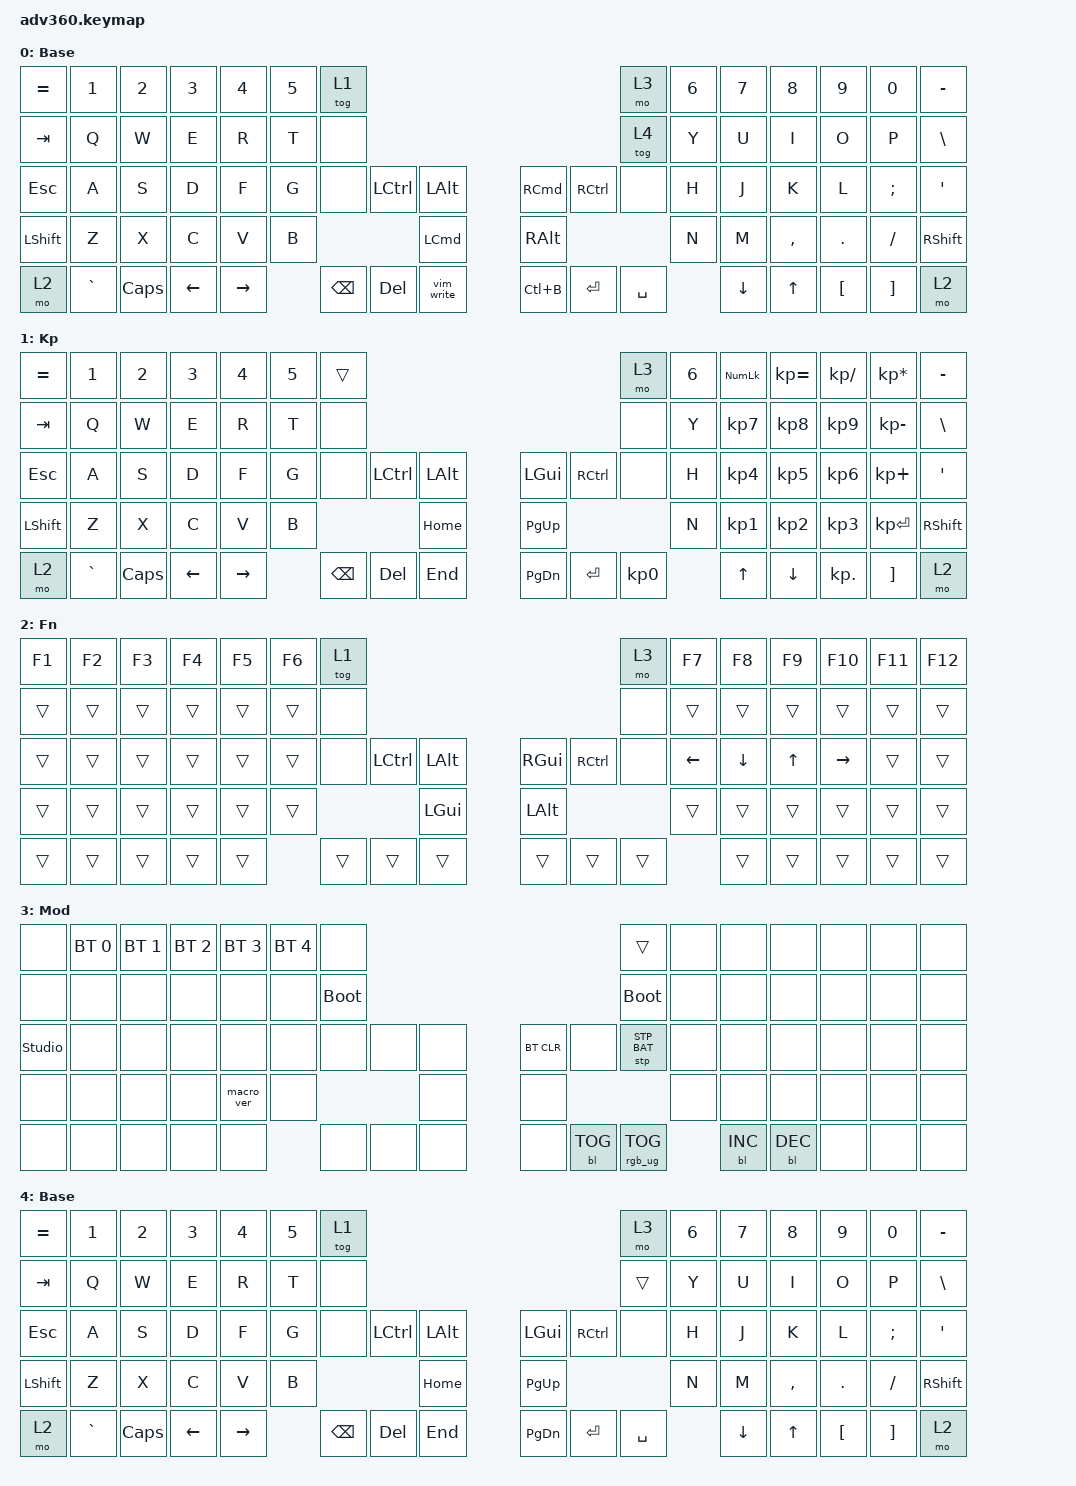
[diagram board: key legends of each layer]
#include <dt-bindings/zmk/stp.h>
#include <behaviors.dtsi>
#include <dt-bindings/zmk/backlight.h>
#include <dt-bindings/zmk/bt.h>
#include <dt-bindings/zmk/keys.h>
#include <dt-bindings/zmk/rgb.h>

/ {
    behaviors {
        #include "macros.dtsi"
      #include "version.dtsi"

        hm: homerow_mods {
            compatible = "zmk,behavior-hold-tap";
            label = "HOMEROW_MODS";
            #binding-cells = <2>;
            tapping-term-ms = <200>;
            quick_tap_ms = <175>;
            flavor = "tap-preferred";
            bindings = <&kp>, <&kp>;
        };
    };

    macros {
        vim_write: vim_write {
            compatible = "zmk,behavior-macro";
            #binding-cells = <0>;
            bindings = <&kp COLON &kp W>;
            label = "VIM_WRITE";
        };
    };

    keymap {
        compatible = "zmk,keymap";

        default_layer {
            display-name = "Base";
            bindings = <
&kp EQUAL  &kp N1     &kp N2    &kp N3    &kp N4     &kp N5  &tog 1                                                                   &mo 3      &kp N6  &kp N7    &kp N8     &kp N9    &kp N0    &kp MINUS
&kp TAB    &kp Q      &kp W     &kp E     &kp R      &kp T   &none                                                                    &tog 4     &kp Y   &kp U     &kp I      &kp O     &kp P     &kp BSLH
&kp ESC    &kp A      &kp S     &kp D     &kp F      &kp G   &none     &kp LCTRL  &kp LEFT_ALT          &kp RIGHT_COMMAND  &kp RCTRL  &none      &kp H   &kp J     &kp K      &kp L     &kp SEMI  &kp SQT
&kp LSHFT  &kp Z      &kp X     &kp C     &kp V      &kp B                        &kp LEFT_COMMAND      &kp RIGHT_ALT                            &kp N   &kp M     &kp COMMA  &kp DOT   &kp FSLH  &kp RSHFT
&mo 2      &kp GRAVE  &kp CAPS  &kp LEFT  &kp RIGHT          &kp BSPC  &kp DEL    &vim_write            &kp LC(B)          &kp ENTER  &kp SPACE          &kp DOWN  &kp UP     &kp LBKT  &kp RBKT  &mo 2
            >;
        };

        keypad {
            display-name = "Kp";
            bindings = <
&kp EQUAL  &kp N1     &kp N2    &kp N3    &kp N4     &kp N5  &trans                                                   &mo 3      &kp N6  &kp KP_NUM  &kp KP_EQUAL  &kp KP_DIVIDE  &kp KP_MULTIPLY  &kp MINUS
&kp TAB    &kp Q      &kp W     &kp E     &kp R      &kp T   &none                                                    &none      &kp Y   &kp KP_N7   &kp KP_N8     &kp KP_N9      &kp KP_MINUS     &kp BSLH
&kp ESC    &kp A      &kp S     &kp D     &kp F      &kp G   &none     &kp LCTRL  &kp LALT      &kp LGUI   &kp RCTRL  &none      &kp H   &kp KP_N4   &kp KP_N5     &kp KP_N6      &kp KP_PLUS      &kp SQT
&kp LSHFT  &kp Z      &kp X     &kp C     &kp V      &kp B                        &kp HOME      &kp PG_UP                        &kp N   &kp KP_N1   &kp KP_N2     &kp KP_N3      &kp KP_ENTER     &kp RSHFT
&mo 2      &kp GRAVE  &kp CAPS  &kp LEFT  &kp RIGHT          &kp BSPC  &kp DEL    &kp END       &kp PG_DN  &kp ENTER  &kp KP_N0          &kp UP      &kp DOWN      &kp KP_DOT     &kp RBKT         &mo 2
            >;
        };

        fn {
            display-name = "Fn";
            bindings = <
&kp F1  &kp F2  &kp F3  &kp F4  &kp F5  &kp F6  &tog 1                                                                        &mo 3   &kp F7    &kp F8          &kp F9        &kp F10          &kp F11  &kp F12
&trans  &trans  &trans  &trans  &trans  &trans  &none                                                                         &none   &trans    &trans          &trans        &trans           &trans   &trans
&trans  &trans  &trans  &trans  &trans  &trans  &none   &kp LEFT_CONTROL  &kp LEFT_ALT      &kp RIGHT_GUI  &kp RIGHT_CONTROL  &none   &kp LEFT  &kp DOWN_ARROW  &kp UP_ARROW  &kp RIGHT_ARROW  &trans   &trans
&trans  &trans  &trans  &trans  &trans  &trans                            &kp LEFT_GUI      &kp LEFT_ALT                              &trans    &trans          &trans        &trans           &trans   &trans
&trans  &trans  &trans  &trans  &trans          &trans  &trans            &trans            &trans         &trans             &trans            &trans          &trans        &trans           &trans   &trans
            >;
        };

        mod {
            display-name = "Mod";
            bindings = <
&none           &bt BT_SEL 0  &bt BT_SEL 1  &bt BT_SEL 2  &bt BT_SEL 3  &bt BT_SEL 4  &none                                                  &trans           &none  &none       &none       &none  &none  &none
&none           &none         &none         &none         &none         &none         &bootloader                                            &bootloader      &none  &none       &none       &none  &none  &none
&studio_unlock  &none         &none         &none         &none         &none         &none        &none  &none      &bt BT_CLR  &none       &stp STP_BAT     &none  &none       &none       &none  &none  &none
&none           &none         &none         &none         &macro_ver    &none                             &none      &none                                    &none  &none       &none       &none  &none  &none
&none           &none         &none         &none         &none                       &none        &none  &none      &none       &bl BL_TOG  &rgb_ug RGB_TOG         &bl BL_INC  &bl BL_DEC  &none  &none  &none
            >;
        };

        macros {
            display-name = "Base";
            bindings = <
&kp EQUAL  &kp N1     &kp N2    &kp N3    &kp N4     &kp N5  &tog 1                                                   &mo 3      &kp N6  &kp N7    &kp N8     &kp N9    &kp N0    &kp MINUS
&kp TAB    &kp Q      &kp W     &kp E     &kp R      &kp T   &none                                                    &trans     &kp Y   &kp U     &kp I      &kp O     &kp P     &kp BSLH
&kp ESC    &kp A      &kp S     &kp D     &kp F      &kp G   &none     &kp LCTRL  &kp LALT      &kp LGUI   &kp RCTRL  &none      &kp H   &kp J     &kp K      &kp L     &kp SEMI  &kp SQT
&kp LSHFT  &kp Z      &kp X     &kp C     &kp V      &kp B                        &kp HOME      &kp PG_UP                        &kp N   &kp M     &kp COMMA  &kp DOT   &kp FSLH  &kp RSHFT
&mo 2      &kp GRAVE  &kp CAPS  &kp LEFT  &kp RIGHT          &kp BSPC  &kp DEL    &kp END       &kp PG_DN  &kp ENTER  &kp SPACE          &kp DOWN  &kp UP     &kp LBKT  &kp RBKT  &mo 2
            >;
        };

        extra1 {
            display-name = "Red";
            status = "reserved";
        };

        extra2 {
            display-name = "Purple";
            status = "reserved";
        };

        extra3 {
            display-name = "Cyan";
            status = "reserved";
        };

        extra4 {
            display-name = "Yellow";
            status = "reserved";
        };
    };
};
